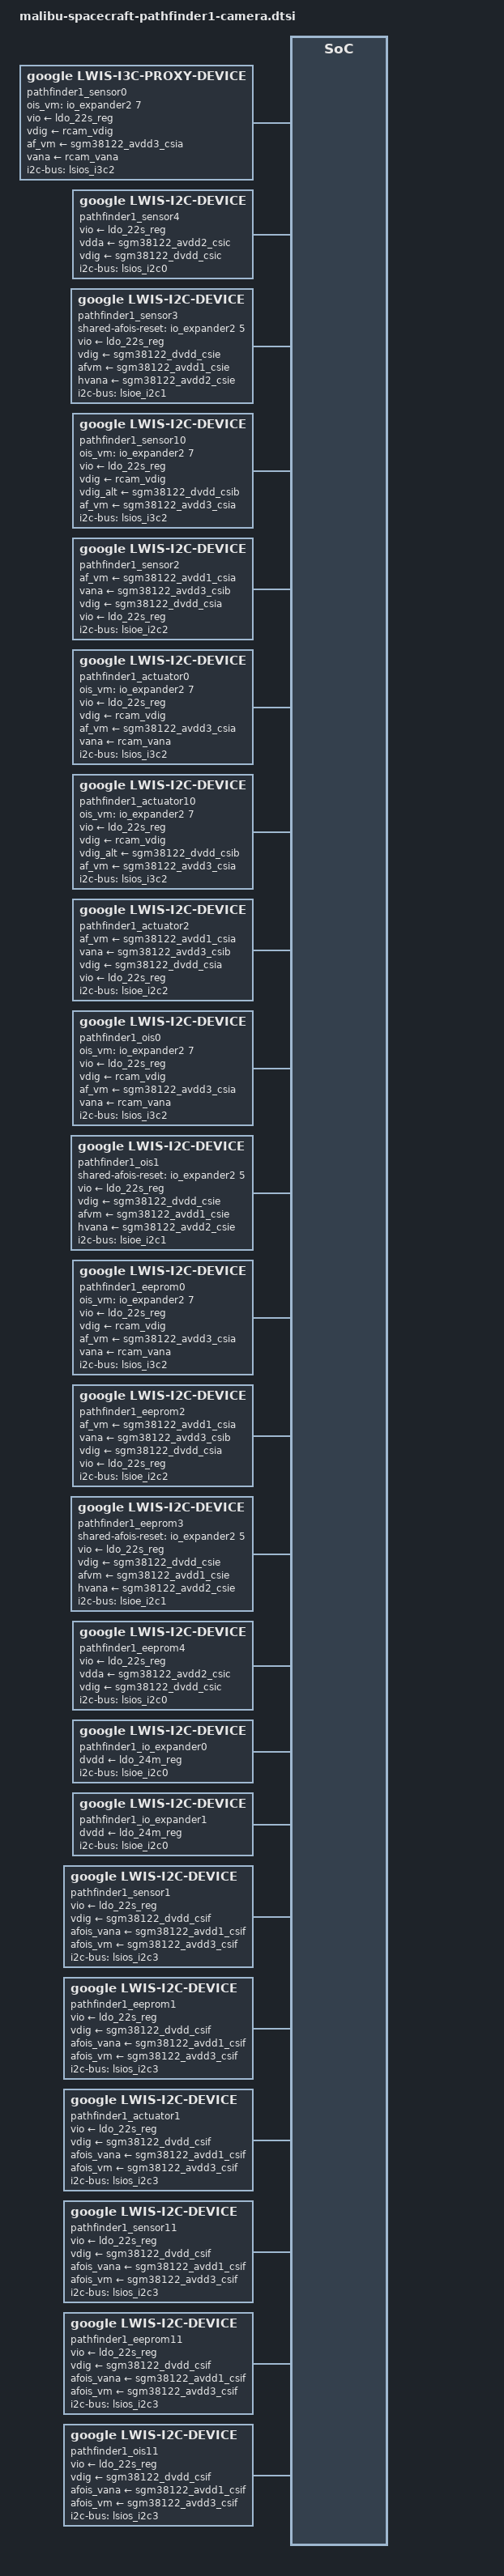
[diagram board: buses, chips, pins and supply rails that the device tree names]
// SPDX-License-Identifier: GPL-2.0-only
/*
 * camera lwis device tree for spacecraft
 *
 * Copyright 2025 Google LLC.
 *
 */

#include <dt-bindings/gpio/gpio.h>

/ {
	fragment@lwiscamera {
		target-path = "/";
		__overlay__ {
			pathfinder1_rear_main_camera_power_seq: pathfinder1_module_power_seq@0 {
				/* Power up sequence */
				power-up-seqs =
					"vana",
					"vdig",
					"vio",
					"vm_vana_enable",
					"af_vm",
					"ois_vm",
					"mclk_on",
					"resume";
				power-up-seq-types =
					"regulator",
					"regulator",
					"regulator",
					"gpio",
					"regulator",
					"gpio",
					"pinctrl",
					"controller";
				power-up-seq-delays-us =
					<0
					 0
					 1000
					 0
					 1000
					 0
					 1000
					 /* AF need 7.1ms (rounded to 8ms) before I2C stable,
					    added the remaining here */
					 6000>;

				power-down-seqs =
					"suspend",
					"mclk_off",
					"ois_vm",
					"af_vm",
					"vm_vana_enable",
					"vio",
					"vdig",
					"vana";
				power-down-seq-types =
					"controller",
					"pinctrl",
					"gpio",
					"regulator",
					"gpio",
					"regulator",
					"regulator",
					"regulator";
				power-down-seq-delays-us =
					<0
					 0
					 1000
					 0
					 1000
					 1000
					 1000
					 2000>;
			};

			pathfinder1_inner_front_camera_power_seq: pathfinder1_module_power_seq@4 {
				power-up-seqs =
					"vio",
					"vdda",
					"vdig",
					"reset",
					"mclk_on",
					"resume";
				power-up-seq-types =
					"regulator",
					"regulator",
					"regulator",
					"gpio",
					"pinctrl",
					"controller";
				power-up-seq-delays-us =
					<2500
					 0
					 1000
					 1000
					 0
					 1000>;

				power-down-seqs =
					"suspend",
					"mclk_off",
					"reset",
					"vdig",
					"vdda",
					"vio";
				power-down-seq-types =
					"controller",
					"pinctrl",
					"gpio",
					"regulator",
					"regulator",
					"regulator";
				power-down-seq-delays-us =
					<0
					 0
					 0
					 0
					 0
					 0>;
			};

			pathfinder1_rear_tele_camera_power_seq: pathfinder1_module_power_seq@3 {
				/* Power up sequence */
				power-up-seqs =
					"vio",
					"hvana",
					"vdig",
					"afois",
					"afvm",
					"shared-reset",
					"shared-afois-reset",
					"mclk_on",
					"resume";
				power-up-seq-types =
					"regulator",
					"regulator",
					"regulator",
					"regulator",
					"regulator",
					"gpio",
					"gpio",
					"pinctrl",
					"controller";
				power-up-seq-delays-us =
					<2500
					 0
					 1000
					 1000
					 1000
					 0
					 0
					 10000
					 0>;

				/* Power down sequence */
				power-down-seqs =
					"suspend",
					"mclk_off",
					"shared-afois-reset",
					"shared-reset",
					"afvm",
					"afois",
					"vdig",
					"hvana",
					"vio";
				power-down-seq-types =
					"controller",
					"pinctrl",
					"gpio",
					"gpio",
					"regulator",
					"regulator",
					"regulator",
					"regulator",
					"regulator";
				power-down-seq-delays-us =
					<0
					 0
					 0
					 0
					 0
					 0
					 0
					 0
					 0>;
			};

			pathfinder1_rear_main_camera_power_seq2: pathfinder1_module_power_seq@10 {
				/* Power up sequence */
				power-up-seqs =
					"vio",
					"vana",
					"vdig",
					"vdig_alt",
					"vm_vana_enable",
					"af_vm",
					"ois_vm",
					"mclk_on",
					"resume";
				power-up-seq-types =
					"regulator",
					"regulator",
					"regulator",
					"regulator",
					"gpio",
					"regulator",
					"gpio",
					"pinctrl",
					"controller";
				power-up-seq-delays-us =
					<2500
					 0
					 0
					 1000
					 0
					 1000
					 0
					 1000
					 /* AF need 7.1ms (rounded to 8ms) before I2C stable,
					    added the remaining here */
					 6000>;

				power-down-seqs =
					"suspend",
					"mclk_off",
					"ois_vm",
					"af_vm",
					"vm_vana_enable",
					"vdig_alt",
					"vdig",
					"vana",
					"vio";
				power-down-seq-types =
					"controller",
					"pinctrl",
					"gpio",
					"regulator",
					"gpio",
					"regulator",
					"regulator",
					"regulator",
					"regulator";
				power-down-seq-delays-us =
					<0
					 0
					 1000
					 0
					 1000
					 0
					 0
					 1000
					 2000>;
			};

			pathfinder1_rear_uw_camera_power_seq: pathfinder1_module_power_seq@2 {
				power-up-seqs =
					"vio",
					"vana",
					"vdig",
					"af_vm",
					"reset",
					"mclk_on",
					"resume";
				power-up-seq-types =
					"regulator",
					"regulator",
					"regulator",
					"regulator",
					"gpio",
					"pinctrl",
					"controller";
				power-up-seq-delays-us =
					<2500
					 0
					 1000
					 0
					 1000
					 0
					 10000>;

				power-down-seqs =
					"suspend",
					"mclk_off",
					"reset",
					"af_vm",
					"vdig",
					"vana",
					"vio";
				power-down-seq-types =
					"controller",
					"pinctrl",
					"gpio",
					"regulator",
					"regulator",
					"regulator",
					"regulator";
				power-down-seq-delays-us =
					<0
					 1000
					 0
					 1000
					 0
					 1000
					 0>;
			};

			/* REAR CAMERA BOITATA CSIB */
			pathfinder1_sensor0: pathfinder1_sensor@0 {
				compatible = "google,lwis-i3c-proxy-device";

				/* Device node name */
				node-name = "sensor-boitata-pathfinder";

				/* I2C */
				i2c-bus = <&lsios_i3c2>;
				i2c-addr = <0x3D>;
				/* I3C */
				i3c-enabled;
				i3c-dcr = <130>;

				/* Power up mode */
				lwis,power-up-to-suspend;

				/* Registers */
				reg-addr-bitwidth = <16>;
				reg-value-bitwidth = <16>;

				 /* I2C OTP settings (reg, val) */
				i2c-otp-settings =
					<0xFCFC 0x4000
					 0x6012 0x0001
					 0x7002 0x0008
					 0x6014 0x0001>;
				i2c-otp-settle-time = <10000>;

				/* I3C OTP settings (reg, val) */
				i3c-otp-settings =
					<0xFCFC 0x4000
					 0x6012 0x0001
					 0x7002 0x1008
					 0x6066 0x0216
					 0x6068 0x08EF
					 0x6014 0x0001>;
				i3c-otp-settle-time = <10000>;

				/* I3C IBI */
				ibi-max-payload-len = <3>;
				ibi-num-slots = <8>;

				/* GPIOs */
				reset-gpios = <AP2RCAM_RST_L(GPIO_ACTIVE_HIGH)>;
				vm_vana_enable-gpios = <PMICM2RCAM_AFOIS_VANA_EN(GPIO_ACTIVE_HIGH)>;

				/* Power supplies */
				vio-supply = <&ldo_22s_reg>;
				vdig-supply = <&rcam_vdig>;
				af_vm-supply = <&sgm38122_avdd3_csia>;
				ois_vm-gpios = <&io_expander2 7 GPIO_ACTIVE_HIGH>;
				vana-supply = <&rcam_vana>;

				/* Power domains: cpm_clk */
				power-domains = <&sswrp_lsio_s_pd>;

				clocks = <&lsio_s_m4_clk>;
				clock-names = "MCLK4";
				clock-rates = <24576000>;

				/* MCLK Control */
				pinctrl-names = "mclk_on", "mclk_off";
				pinctrl-0 = <&ap2rcam_mclk_24mhz>;
				pinctrl-1 = <&ap2rcam_mclk_24mhz_sleep>;

				/* Power sequence */
				power-seq = <&pathfinder1_rear_main_camera_power_seq>;

				/* resume sequence */
				resume-seqs = "reset";
				resume-seq-types = "gpio";
				resume-seq-delays-us = <9000>;

				/* suspend sequence */
				suspend-seqs = "reset";
				suspend-seq-types = "gpio";
				suspend-seq-delays-us = <1000>;

				/* Thread priority */
				transaction-thread-priority = <99>;

				i2c-lock-group-id = <0>;
				transaction-process-limit = <20>;
			};

			/* INNER FRONT SVAROG CSIC */
			pathfinder1_sensor4: pathfinder1_sensor@4 {
				compatible = "google,lwis-i2c-device";

				/* Device node name */
				node-name = "sensor-svarog-pathfinder";

				/* I2C */
				i2c-bus = <&lsios_i2c0>;
				i2c-addr = <0x10>;

				/* Registers */
				reg-addr-bitwidth = <16>;
				reg-value-bitwidth = <16>;

				/* I2C setting in kernel */
				lwis,i2c-otp;
				i2c-otp-settings =
					<0xFCFC 0x4000
					 0x6000 0x0005
					 0x6010 0x0001>;
				i2c-otp-settle-time = <5000>;

				/* GPIOs */
				reset-gpios = <AP2FCAM1_RST_L(GPIO_ACTIVE_HIGH)>;

				/* Power supplies */
				vio-supply = <&ldo_22s_reg>;
				vdda-supply = <&sgm38122_avdd2_csic>;
				vdig-supply = <&sgm38122_dvdd_csic>;

				/* Power domains: cpm_clk */
				power-domains = <&sswrp_lsio_s_pd>;

				clocks = <&lsio_s_m3_clk>;
				clock-names = "MCLK3";
				clock-rates = <24576000>;

				/* MCLK Control */
				pinctrl-names = "mclk_on", "mclk_off";
				pinctrl-0 = <&ap2fcam1_mclk_24mhz>;
				pinctrl-1 = <&ap2fcam1_mclk_24mhz_sleep>;

				/* Power sequence */
				power-seq = <&pathfinder1_inner_front_camera_power_seq>;

				/* Thread priority */
				transaction-thread-priority = <99>;

				i2c-lock-group-id = <4>;
			};

			/* REAR Tele Camera TAOTIE CSIE */
			pathfinder1_sensor3: pathfinder1_sensor@3 {
				compatible = "google,lwis-i2c-device";

				/* Device node name */
				node-name = "sensor-taotie-tele-pf";

				/* I2C */
				i2c-bus = <&lsioe_i2c1>;
				i2c-addr = <0x33>;

				/* Registers */
				reg-addr-bitwidth = <16>;
				reg-value-bitwidth = <8>;

				/* GPIOs */
				shared-reset-gpios = <AP2FCAM0_RST_L(GPIO_ACTIVE_HIGH)>;
				/* AF OIS RESET is IO_EXPNDR2_CSIE_DRV_RST_L */
				shared-afois-reset-gpios =
					<&io_expander2 5 GPIO_ACTIVE_HIGH>;

				/* Power supplies */
				vio-supply = <&ldo_22s_reg>;
				vdig-supply = <&sgm38122_dvdd_csie>;
				afvm-supply = <&sgm38122_avdd1_csie>;
				hvana-supply = <&sgm38122_avdd2_csie>;
				afois-supply = <&sgm38122_avdd3_csie>;

				/* Power domains: cpm_clk */
				power-domains = <&sswrp_lsio_s_pd>;

				clocks = <&lsio_s_m6_clk>;
				clock-names = "MCLK6";
				clock-rates = <24576000>;

				/* MCLK Control */
				pinctrl-names = "mclk_on", "mclk_off";
				pinctrl-0 = <&ap2fcam0_mclk_24mhz>;
				pinctrl-1 = <&ap2fcam0_mclk_24mhz_sleep>;

				/* Power sequence */
				power-seq = <&pathfinder1_rear_tele_camera_power_seq>;

				/* Thread priority */
				transaction-thread-priority = <99>;

				i2c-lock-group-id = <3>;
			};

			/* REAR CAMERA CHEMOSH CSIB */
			pathfinder1_sensor10: pathfinder1_sensor@10 {
				compatible = "google,lwis-i2c-device";

				/* Device node name */
				node-name = "sensor-chemosh-pathfinder";

				/* I2C */
				i2c-bus = <&lsios_i3c2>;
				i2c-addr = <0x56>;

				/* Registers */
				reg-addr-bitwidth = <16>;
				reg-value-bitwidth = <16>;

				/* Enable after LWIS support multiple wait points for OTP */
				// /* I3C */
				// i3c-enabled;
				// i3c-dcr = <130>;

				//  /* I2C OTP settings (reg, val) */
				// i2c-otp-settings =
				// 	<>;
				// i2c-otp-settle-time = <10000>;

				// /* I3C OTP settings (reg, val) */
				// i3c-otp-settings =
				// 	<>;
				// i3c-otp-settle-time = <10000>;

				// /* I3C IBI */
				// ibi-max-payload-len = <3>;
				// ibi-num-slots = <8>;

				/* GPIOs */
				reset-gpios = <AP2RCAM_RST_L(GPIO_ACTIVE_HIGH)>;
				vm_vana_enable-gpios = <PMICM2RCAM_AFOIS_VANA_EN(GPIO_ACTIVE_HIGH)>;

				/* Power supplies */
				vio-supply = <&ldo_22s_reg>;
				vdig-supply = <&rcam_vdig>;
				vdig_alt-supply = <&sgm38122_dvdd_csib>;
				af_vm-supply = <&sgm38122_avdd3_csia>;
				ois_vm-gpios = <&io_expander2 7 GPIO_ACTIVE_HIGH>;
				vana-supply = <&rcam_vana>;

				/* Power domains: cpm_clk */
				power-domains = <&sswrp_lsio_s_pd>;

				clocks = <&lsio_s_m4_clk>;
				clock-names = "MCLK4";
				clock-rates = <24576000>;

				/* MCLK Control */
				pinctrl-names = "mclk_on", "mclk_off";
				pinctrl-0 = <&ap2rcam_mclk_24mhz>;
				pinctrl-1 = <&ap2rcam_mclk_24mhz_sleep>;

				/* Power sequence */
				power-seq = <&pathfinder1_rear_main_camera_power_seq2>;

				/* Power up mode */
				lwis,power-up-to-suspend;

				/* resume sequence */
				resume-seqs = "reset";
				resume-seq-types = "gpio";
				resume-seq-delays-us = <10000>;

				/* suspend sequence */
				suspend-seqs = "reset";
				suspend-seq-types = "gpio";
				suspend-seq-delays-us = <1000>;

				/* Thread priority */
				transaction-thread-priority = <99>;

				i2c-lock-group-id = <0>;
				transaction-process-limit = <20>;
			};

			/* REAR ULTRA WIDE IMENTET CSIA */
			pathfinder1_sensor2: pathfinder1_sensor@2 {
				compatible = "google,lwis-i2c-device";

				/* Device node name */
				node-name = "sensor-imentet-pathfinder";

				/* I2C */
				i2c-bus = <&lsioe_i2c2>;
				i2c-addr = <0x2D>;

				/* Registers */
				reg-addr-bitwidth = <16>;
				reg-value-bitwidth = <16>;

				/* GPIOs */
				reset-gpios = <AP2RUWCAM_RST_L(GPIO_ACTIVE_HIGH)>;

				/* Power supplies */
				af_vm-supply = <&sgm38122_avdd1_csia>;
				// ois_vm-gpios = <&io_expander1 5 GPIO_ACTIVE_HIGH>;
				vana-supply = <&sgm38122_avdd3_csib>;
				vdig-supply = <&sgm38122_dvdd_csia>;
				vio-supply = <&ldo_22s_reg>;

				/* Power domains: cpm_clk */
				power-domains = <&sswrp_lsio_s_pd>;

				clocks = <&lsio_s_m2_clk>;
				clock-names = "MCLK2";
				clock-rates = <24576000>;

				/* MCLK Control */
				pinctrl-names = "mclk_on", "mclk_off";
				pinctrl-0 = <&ap2ruwcam_mclk_24mhz>;
				pinctrl-1 = <&ap2ruwcam_mclk_24mhz_sleep>;

				/* Power sequence */
				power-seq = <&pathfinder1_rear_uw_camera_power_seq>;

				/* Thread priority */
				transaction-thread-priority = <99>;

				i2c-lock-group-id = <2>;
			};

			/* Actuator CORNERFOLK for BOITATA */
			pathfinder1_actuator0: pathfinder1_actuator@0 {
				compatible = "google,lwis-i2c-device";

				/* Device node name */
				node-name = "act-cornerfolk-pathfinder";

				/* I2C */
				i2c-bus = <&lsios_i3c2>;
				i2c-addr = <0xC>;

				/* Registers */
				reg-addr-bitwidth = <8>;
				reg-value-bitwidth = <8>;

				/* GPIOs */
				reset-gpios = <AP2RCAM_RST_L(GPIO_ACTIVE_HIGH)>;
				vm_vana_enable-gpios = <PMICM2RCAM_AFOIS_VANA_EN(GPIO_ACTIVE_HIGH)>;

				/* Power supplies */
				vio-supply = <&ldo_22s_reg>;
				vdig-supply = <&rcam_vdig>;
				af_vm-supply = <&sgm38122_avdd3_csia>;
				ois_vm-gpios = <&io_expander2 7 GPIO_ACTIVE_HIGH>;
				vana-supply = <&rcam_vana>;

				/* MCLK Control */
				pinctrl-names = "mclk_on", "mclk_off";
				pinctrl-0 = <&ap2rcam_mclk_24mhz>;
				pinctrl-1 = <&ap2rcam_mclk_24mhz_sleep>;

				/* Power sequence */
				power-seq = <&pathfinder1_rear_main_camera_power_seq>;

				/* Thread priority */
				transaction-thread-priority = <99>;

				i2c-lock-group-id = <0>;
			};

			/* Actuator CORNERFOLK for CHEMOSH */
			pathfinder1_actuator10: pathfinder1_actuator@10 {
				compatible = "google,lwis-i2c-device";

				/* Device node name */
				node-name = "act-cornerfolk-chemosh";

				/* I2C */
				i2c-bus = <&lsios_i3c2>;
				i2c-addr = <0xC>;

				/* Registers */
				reg-addr-bitwidth = <8>;
				reg-value-bitwidth = <8>;

				/* GPIOs */
				reset-gpios = <AP2RCAM_RST_L(GPIO_ACTIVE_HIGH)>;
				vm_vana_enable-gpios = <PMICM2RCAM_AFOIS_VANA_EN(GPIO_ACTIVE_HIGH)>;

				/* Power supplies */
				vio-supply = <&ldo_22s_reg>;
				vdig-supply = <&rcam_vdig>;
				vdig_alt-supply = <&sgm38122_dvdd_csib>;
				af_vm-supply = <&sgm38122_avdd3_csia>;
				ois_vm-gpios = <&io_expander2 7 GPIO_ACTIVE_HIGH>;
				vana-supply = <&rcam_vana>;

				/* MCLK Control */
				pinctrl-names = "mclk_on", "mclk_off";
				pinctrl-0 = <&ap2rcam_mclk_24mhz>;
				pinctrl-1 = <&ap2rcam_mclk_24mhz_sleep>;

				/* Power sequence */
				power-seq = <&pathfinder1_rear_main_camera_power_seq2>;

				/* Thread priority */
				transaction-thread-priority = <99>;

				i2c-lock-group-id = <0>;
			};

			/* Actuator for REAR ULTRAWIDE CAMERA */
			pathfinder1_actuator2: pathfinder1_actuator@2 {
				compatible = "google,lwis-i2c-device";

				/* Device node name */
				node-name = "act-cornerfolk-uw-pathfinder";

				/* I2C */
				i2c-bus = <&lsioe_i2c2>;
				i2c-addr = <0xF>;

				/* Registers */
				reg-addr-bitwidth = <8>;
				reg-value-bitwidth = <8>;

				/* GPIOs */
				reset-gpios = <AP2RUWCAM_RST_L(GPIO_ACTIVE_HIGH)>;

				/* Power supplies */
				af_vm-supply = <&sgm38122_avdd1_csia>;
				// ois_vm-gpios = <&io_expander1 5 GPIO_ACTIVE_HIGH>;
				vana-supply = <&sgm38122_avdd3_csib>;
				vdig-supply = <&sgm38122_dvdd_csia>;
				vio-supply = <&ldo_22s_reg>;

				/* MCLK Control */
				pinctrl-names = "mclk_on", "mclk_off";
				pinctrl-0 = <&ap2ruwcam_mclk_24mhz>;
				pinctrl-1 = <&ap2ruwcam_mclk_24mhz_sleep>;

				/* Power sequence */
				power-seq = <&pathfinder1_rear_uw_camera_power_seq>;

				/* Thread priority */
				transaction-thread-priority = <99>;

				i2c-lock-group-id = <2>;
			};

			/* OIS DJINN for BOITATA */
			pathfinder1_ois0: pathfinder1_ois@0 {
				compatible = "google,lwis-i2c-device";

				/* Device node name */
				node-name = "ois-djinn-pathfinder";

				/* I2C */
				i2c-bus = <&lsios_i3c2>;
				i2c-addr = <0x24>;

				/* Registers */
				reg-addr-bitwidth = <16>;
				reg-value-bitwidth = <32>;

				/* GPIOs */
				reset-gpios = <AP2RCAM_RST_L(GPIO_ACTIVE_HIGH)>;
				vm_vana_enable-gpios = <PMICM2RCAM_AFOIS_VANA_EN(GPIO_ACTIVE_HIGH)>;

				/* Power supplies */
				vio-supply = <&ldo_22s_reg>;
				vdig-supply = <&rcam_vdig>;
				af_vm-supply = <&sgm38122_avdd3_csia>;
				ois_vm-gpios = <&io_expander2 7 GPIO_ACTIVE_HIGH>;
				vana-supply = <&rcam_vana>;

				/* MCLK Control */
				pinctrl-names = "mclk_on", "mclk_off";
				pinctrl-0 = <&ap2rcam_mclk_24mhz>;
				pinctrl-1 = <&ap2rcam_mclk_24mhz_sleep>;

				/* Power sequence */
				power-seq = <&pathfinder1_rear_main_camera_power_seq>;

				/* Thread priority */
				transaction-thread-priority = <99>;

				i2c-lock-group-id = <0>;
			};

			/* OIS HUMBABA for Tele */
			pathfinder1_ois1: pathfinder1_ois@1 {
				compatible = "google,lwis-i2c-device";

				/* Device node name */
				node-name = "ois-humbaba-pathfinder";

				/* I2C */
				i2c-bus = <&lsioe_i2c1>;
				i2c-addr = <0x61>;

				/* Registers */
				reg-addr-bitwidth = <16>;
				reg-value-bitwidth = <8>;

				/* GPIOs */
				shared-reset-gpios = <AP2FCAM0_RST_L(GPIO_ACTIVE_HIGH)>;
				/* AF OIS RESET is IO_EXPNDR2_CSIE_DRV_RST_L */
				shared-afois-reset-gpios =
					<&io_expander2 5 GPIO_ACTIVE_HIGH>;

				/* Power supplies */
				vio-supply = <&ldo_22s_reg>;
				vdig-supply = <&sgm38122_dvdd_csie>;
				afvm-supply = <&sgm38122_avdd1_csie>;
				hvana-supply = <&sgm38122_avdd2_csie>;
				afois-supply = <&sgm38122_avdd3_csie>;

				/* MCLK Control */
				pinctrl-names = "mclk_on", "mclk_off";
				pinctrl-0 = <&ap2fcam0_mclk_24mhz>;
				pinctrl-1 = <&ap2fcam0_mclk_24mhz_sleep>;

				/* Power sequence */
				power-seq = <&pathfinder1_rear_tele_camera_power_seq>;

				/* Thread priority */
				transaction-thread-priority = <99>;

				i2c-lock-group-id = <3>;
				lwis,disable-group-transfer;
			};

			/* EEPROM DJINN for BOITATA */
			pathfinder1_eeprom0: pathfinder1_eeprom@0 {
				compatible = "google,lwis-i2c-device";
				/* Device node name */
				node-name = "eeprom-djinn-pathfinder";
				/* I2C */
				i2c-bus = <&lsios_i3c2>;
				i2c-addr = <0x24>;
				/* Registers */
				reg-addr-bitwidth = <16>;
				reg-value-bitwidth = <32>;

				/* GPIOs */
				reset-gpios = <AP2RCAM_RST_L(GPIO_ACTIVE_HIGH)>;
				vm_vana_enable-gpios = <PMICM2RCAM_AFOIS_VANA_EN(GPIO_ACTIVE_HIGH)>;

				/* Power supplies */
				vio-supply = <&ldo_22s_reg>;
				vdig-supply = <&rcam_vdig>;
				af_vm-supply = <&sgm38122_avdd3_csia>;
				ois_vm-gpios = <&io_expander2 7 GPIO_ACTIVE_HIGH>;
				vana-supply = <&rcam_vana>;

				/* MCLK Control */
				pinctrl-names = "mclk_on", "mclk_off";
				pinctrl-0 = <&ap2rcam_mclk_24mhz>;
				pinctrl-1 = <&ap2rcam_mclk_24mhz_sleep>;

				/* Power sequence */
				power-seq = <&pathfinder1_rear_main_camera_power_seq>;

				/* Thread priority */
				/* Match with other bus devices */
				transaction-thread-priority = <99>;

				i2c-lock-group-id = <0>;
			};

			/* EEPROM SMAUG for UW */
			pathfinder1_eeprom2: pathfinder1_eeprom@2 {
				compatible = "google,lwis-i2c-device";

				/* Device node name */
				node-name = "eeprom-smaug-uw-pathfinder";
				/* I2C */
				i2c-bus = <&lsioe_i2c2>;
				i2c-addr = <0x50>;

				/* Registers */
				reg-addr-bitwidth = <16>;
				reg-value-bitwidth = <8>;

				/* GPIOs */
				reset-gpios = <AP2RUWCAM_RST_L(GPIO_ACTIVE_HIGH)>;

				/* Power supplies */
				af_vm-supply = <&sgm38122_avdd1_csia>;
				// ois_vm-gpios = <&io_expander1 5 GPIO_ACTIVE_HIGH>;
				vana-supply = <&sgm38122_avdd3_csib>;
				vdig-supply = <&sgm38122_dvdd_csia>;
				vio-supply = <&ldo_22s_reg>;

				/* MCLK Control */
				pinctrl-names = "mclk_on", "mclk_off";
				pinctrl-0 = <&ap2ruwcam_mclk_24mhz>;
				pinctrl-1 = <&ap2ruwcam_mclk_24mhz_sleep>;

				/* Power sequence */
				power-seq = <&pathfinder1_rear_uw_camera_power_seq>;

				/* Thread priority */
				/* Match with other bus devices */
				transaction-thread-priority = <99>;

				i2c-lock-group-id = <2>;
			};

			/* EEPROM HUMBABA for Tele */
			pathfinder1_eeprom3: pathfinder1_eeprom@3 {
				compatible = "google,lwis-i2c-device";

				/* Device node name */
				node-name = "eeprom-humbaba-pathfinder";

				/* I2C */
				i2c-bus = <&lsioe_i2c1>;
				i2c-addr = <0x61>;

				/* Registers */
				reg-addr-bitwidth = <16>;
				reg-value-bitwidth = <8>;

				/* GPIOs */
				shared-reset-gpios = <AP2FCAM0_RST_L(GPIO_ACTIVE_HIGH)>;
				/* AF OIS RESET is IO_EXPNDR2_CSIE_DRV_RST_L */
				shared-afois-reset-gpios =
					<&io_expander2 5 GPIO_ACTIVE_HIGH>;

				/* Power supplies */
				vio-supply = <&ldo_22s_reg>;
				vdig-supply = <&sgm38122_dvdd_csie>;
				afvm-supply = <&sgm38122_avdd1_csie>;
				hvana-supply = <&sgm38122_avdd2_csie>;
				afois-supply = <&sgm38122_avdd3_csie>;

				/* MCLK Control */
				pinctrl-names = "mclk_on", "mclk_off";
				pinctrl-0 = <&ap2fcam0_mclk_24mhz>;
				pinctrl-1 = <&ap2fcam0_mclk_24mhz_sleep>;

				/* Power sequence */
				power-seq = <&pathfinder1_rear_tele_camera_power_seq>;

				/* Thread priority */
				/* Match with other bus devices */
				transaction-thread-priority = <99>;

				i2c-lock-group-id = <3>;
				lwis,disable-group-transfer;
			};

			/* EEPROM SMAUG for SVAROG INNER FRONT */
			pathfinder1_eeprom4: pathfinder1_eeprom@4 {
				compatible = "google,lwis-i2c-device";

				/* Device node name */
				node-name = "eeprom-smaug-svarog-pathfinder";

				/* I2C */
				i2c-bus = <&lsios_i2c0>;
				i2c-addr = <0x50>;

				/* Registers */
				reg-addr-bitwidth = <16>;
				reg-value-bitwidth = <8>;

				/* GPIOs */
				reset-gpios = <AP2FCAM1_RST_L(GPIO_ACTIVE_HIGH)>;

				/* Power supplies */
				vio-supply = <&ldo_22s_reg>;
				vdda-supply = <&sgm38122_avdd2_csic>;
				vdig-supply = <&sgm38122_dvdd_csic>;

				/* MCLK Control */
				pinctrl-names = "mclk_on", "mclk_off";
				pinctrl-0 = <&ap2fcam1_mclk_24mhz>;
				pinctrl-1 = <&ap2fcam1_mclk_24mhz_sleep>;

				/* Power sequence */
				power-seq = <&pathfinder1_inner_front_camera_power_seq>;

				/* Thread priority */
				/* Match with other bus devices */
				transaction-thread-priority = <99>;

				i2c-lock-group-id = <4>;
			};

			/* IO EXPANDER 1 on NORTH_I2C */
			pathfinder1_io_expander0: pathfinder1_io_expander@0 {
				compatible = "google,lwis-i2c-device";

				/* Device node name */
				node-name = "io-pca6416-0";

				/* I2C */
				i2c-bus = <&lsioe_i2c0>;
				i2c-addr = <0x20>;

				/* Registers */
				reg-addr-bitwidth = <8>;
				reg-value-bitwidth = <8>;

				/* Power supplies */
				dvdd-supply = <&ldo_24m_reg>;

				power-up-seqs =
					"dvdd";
				power-up-seq-types =
					"regulator";
				power-up-seq-delays-us =
					<1000>;

				power-down-seqs =
					"dvdd";
				power-down-seq-types =
					"regulator";
				power-down-seq-delays-us =
					<1000>;

				i2c-lock-group-id = <6>;
			};

			/* IO EXPANDER 2 on NORTH_I2C */
			pathfinder1_io_expander1: pathfinder1_io_expander@1 {
				compatible = "google,lwis-i2c-device";

				/* Device node name */
				node-name = "io-pca6416-1";

				/* I2C */
				i2c-bus = <&lsioe_i2c0>;
				i2c-addr = <0x21>;

				/* Registers */
				reg-addr-bitwidth = <8>;
				reg-value-bitwidth = <8>;

				/* Power supplies */
				dvdd-supply = <&ldo_24m_reg>;

				power-up-seqs =
					"dvdd";
				power-up-seq-types =
					"regulator";
				power-up-seq-delays-us =
					<1000>;

				power-down-seqs =
					"dvdd";
				power-down-seq-types =
					"regulator";
				power-down-seq-delays-us =
					<1000>;

				i2c-lock-group-id = <6>;
			};

			pathfinder1_outer_front_camera_power_seq: pathfinder1_module_power_seq@1 {
				/* Power up sequence */
				power-up-seqs =
					"shared-csimux_sel",
					"vio",
					"vdig",
					"afois_vana",
					"afois_vm",
					"shared-reset",
					"shared-afois-reset",
					"mclk_on",
					"resume";

				power-up-seq-types =
					"gpio",
					"regulator",
					"regulator",
					"regulator",
					"regulator",
					"gpio",
					"gpio",
					"pinctrl",
					"controller";
				power-up-seq-delays-us =
					<0
					 1000
					 1000
					 1000
					 1000
					 0
					 0
					 8000
					 0>;

				/* Power down sequence */
				power-down-seqs =
					"suspend",
					"mclk_off",
					"shared-afois-reset",
					"shared-reset",
					"afois_vm",
					"afois_vana",
					"vdig",
					"vio",
					"shared-csimux_sel";
				power-down-seq-types =
					"controller",
					"pinctrl",
					"gpio",
					"gpio",
					"regulator",
					"regulator",
					"regulator",
					"regulator",
					"gpio";
				power-down-seq-delays-us =
					<0
					 0
					 0
					 0
					 0
					 0
					 0
					 1000
					 0>;
			};

			/* CSIF DOKKAEBI with MUX on as OUTER FRONT */
			pathfinder1_sensor1: pathfinder1_sensor@1 {
				compatible = "google,lwis-i2c-device";

				/* Device node name */
				node-name = "sensor-dokkaebi-pf";

				/* I2C */
				i2c-bus = <&lsios_i2c3>;
				i2c-addr = <0x10>;

				/* Registers */
				reg-addr-bitwidth = <16>;
				reg-value-bitwidth = <16>;

				/* I2C setting in kernel */
				lwis,i2c-otp;
				i2c-otp-settings =
					<0xFCFC 0x4000
					 0x6010 0x0001>;
				i2c-otp-settle-time = <3000>;

				/* GPIOs */
				shared-reset-gpios = <AP2RTCAM_RST_L(GPIO_ACTIVE_HIGH)>;
				shared-afois-reset-gpios =
					<AP2RTCAM_AF_OIS_RST(GPIO_ACTIVE_HIGH)>;
				shared-csimux_sel-gpios =
					<AP2CSIMUX_SEL(GPIO_ACTIVE_HIGH)>;

				/* Power supplies */
				vio-supply = <&ldo_22s_reg>;
				vdig-supply = <&sgm38122_dvdd_csif>;
				afois_vana-supply = <&sgm38122_avdd1_csif>;
				afois_vm-supply = <&sgm38122_avdd3_csif>;

				/* Power domains: cpm_clk */
				power-domains = <&sswrp_lsio_s_pd>;

				clocks = <&lsio_s_m5_clk>;
				clock-names = "MCLK5";
				clock-rates = <24576000>;

				/* MCLK Control */
				pinctrl-names = "mclk_on", "mclk_off";
				pinctrl-0 = <&ap2rtcam_mclk_24mhz>;
				pinctrl-1 = <&ap2rtcam_mclk_24mhz_sleep>;

				/* Power sequence */
				power-seq = <&pathfinder1_outer_front_camera_power_seq>;

				/* Thread priority */
				transaction-thread-priority = <99>;

				i2c-lock-group-id = <1>;
			};

			/* EEPROM SMAUG for DOKKAEBI */
			pathfinder1_eeprom1: pathfinder1_eeprom@1 {
				compatible = "google,lwis-i2c-device";

				/* Device node name */
				node-name = "eeprom-smaug-dokkaebi-pf";

				/* I2C */
				i2c-bus = <&lsios_i2c3>;
				i2c-addr = <0x51>;

				/* Registers */
				reg-addr-bitwidth = <16>;
				reg-value-bitwidth = <8>;

				/* GPIOs */
				shared-reset-gpios = <AP2RTCAM_RST_L(GPIO_ACTIVE_HIGH)>;
				shared-afois-reset-gpios =
					<AP2RTCAM_AF_OIS_RST(GPIO_ACTIVE_HIGH)>;
				shared-csimux_sel-gpios =
					<AP2CSIMUX_SEL(GPIO_ACTIVE_HIGH)>;

				/* Power supplies */
				vio-supply = <&ldo_22s_reg>;
				vdig-supply = <&sgm38122_dvdd_csif>;
				afois_vana-supply = <&sgm38122_avdd1_csif>;
				afois_vm-supply = <&sgm38122_avdd3_csif>;

				/* MCLK Control */
				pinctrl-names = "mclk_on", "mclk_off";
				pinctrl-0 = <&ap2rtcam_mclk_24mhz>;
				pinctrl-1 = <&ap2rtcam_mclk_24mhz_sleep>;

				/* Power sequence */
				power-seq = <&pathfinder1_outer_front_camera_power_seq>;

				/* Thread priority */
				/* Match with other bus devices */
				transaction-thread-priority = <99>;

				i2c-lock-group-id = <1>;
			};

			/* Actuator CORNERFOLK for DOKKAEBI */
			pathfinder1_actuator1: pathfinder1_actuator@1 {
				compatible = "google,lwis-i2c-device";

				/* Device node name */
				node-name = "act-cornerfolk-dokkaebi-pf";

				/* I2C */
				i2c-bus = <&lsios_i2c3>;
				i2c-addr = <0xC>;

				/* Registers */
				reg-addr-bitwidth = <8>;
				reg-value-bitwidth = <8>;

				/* GPIOs */
				shared-reset-gpios = <AP2RTCAM_RST_L(GPIO_ACTIVE_HIGH)>;
				shared-afois-reset-gpios =
					<AP2RTCAM_AF_OIS_RST(GPIO_ACTIVE_HIGH)>;
				shared-csimux_sel-gpios =
					<AP2CSIMUX_SEL(GPIO_ACTIVE_HIGH)>;

				/* Power supplies */
				vio-supply = <&ldo_22s_reg>;
				vdig-supply = <&sgm38122_dvdd_csif>;
				afois_vana-supply = <&sgm38122_avdd1_csif>;
				afois_vm-supply = <&sgm38122_avdd3_csif>;

				/* MCLK Control */
				pinctrl-names = "mclk_on", "mclk_off";
				pinctrl-0 = <&ap2rtcam_mclk_24mhz>;
				pinctrl-1 = <&ap2rtcam_mclk_24mhz_sleep>;

				/* Power sequence */
				power-seq = <&pathfinder1_outer_front_camera_power_seq>;

				/* Thread priority */
				transaction-thread-priority = <99>;

				i2c-lock-group-id = <1>;
			};

			pathfinder1_alt_outer_front_power_seq: pathfinder1_module_power_seq@11 {
				/* Power up sequence */
				power-up-seqs =
					"vio",
					"vdig",
					"afois_vana",
					"afois_vm",
					"shared-reset",
					"shared-afois-reset",
					"mclk_on",
					"resume";
				power-up-seq-types =
					"regulator",
					"regulator",
					"regulator",
					"regulator",
					"gpio",
					"gpio",
					"pinctrl",
					"controller";
				power-up-seq-delays-us =
					<1000
					 1000
					 1000
					 1000
					 0
					 0
					 8000
					 0>;

				/* Power down sequence */
				power-down-seqs =
					"suspend",
					"mclk_off",
					"shared-afois-reset",
					"shared-reset",
					"afois_vm",
					"afois_vana",
					"vdig",
					"vio";
				power-down-seq-types =
					"controller",
					"pinctrl",
					"gpio",
					"gpio",
					"regulator",
					"regulator",
					"regulator",
					"regulator";
				power-down-seq-delays-us =
					<0
					 0
					 0
					 0
					 0
					 0
					 0
					 1000>;
			};

			/* CSIF DOKKAEBI TELE as OUTER FRONT */
			pathfinder1_sensor11: pathfinder1_sensor@11 {
				compatible = "google,lwis-i2c-device";

				/* Device node name */
				node-name = "sensor-dokkaebi-tele-pf";

				/* I2C */
				i2c-bus = <&lsios_i2c3>;
				i2c-addr = <0x10>;

				/* Registers */
				reg-addr-bitwidth = <16>;
				reg-value-bitwidth = <16>;

				/* I2C setting in kernel */
				lwis,i2c-otp;
				i2c-otp-settings =
					<0xFCFC 0x4000
					 0x6010 0x0001>;
				i2c-otp-settle-time = <3000>;

				/* GPIOs */
				shared-reset-gpios = <AP2RTCAM_RST_L(GPIO_ACTIVE_HIGH)>;
				shared-afois-reset-gpios =
					<AP2RTCAM_AF_OIS_RST(GPIO_ACTIVE_HIGH)>;

				/* Power supplies */
				vio-supply = <&ldo_22s_reg>;
				vdig-supply = <&sgm38122_dvdd_csif>;
				afois_vana-supply = <&sgm38122_avdd1_csif>;
				afois_vm-supply = <&sgm38122_avdd3_csif>;

				/* Power domains: cpm_clk */
				power-domains = <&sswrp_lsio_s_pd>;

				clocks = <&lsio_s_m5_clk>;
				clock-names = "MCLK5";
				clock-rates = <24576000>;

				/* MCLK Control */
				pinctrl-names = "mclk_on", "mclk_off";
				pinctrl-0 = <&ap2rtcam_mclk_24mhz>;
				pinctrl-1 = <&ap2rtcam_mclk_24mhz_sleep>;

				/* Power sequence */
				power-seq = <&pathfinder1_alt_outer_front_power_seq>;

				/* Thread priority */
				transaction-thread-priority = <99>;

				i2c-lock-group-id = <1>;
			};

			/* EEPROM HUMBABA for DOKKAEBI TELE as OUTER FRONT */
			pathfinder1_eeprom11: pathfinder1_eeprom@11 {
				compatible = "google,lwis-i2c-device";

				/* Device node name */
				node-name = "eeprom-humbaba-tele-pf";

				/* I2C */
				i2c-bus = <&lsios_i2c3>;
				i2c-addr = <0x61>;

				/* Registers */
				reg-addr-bitwidth = <16>;
				reg-value-bitwidth = <8>;

				/* GPIOs */
				shared-reset-gpios = <AP2RTCAM_RST_L(GPIO_ACTIVE_HIGH)>;
				shared-afois-reset-gpios =
					<AP2RTCAM_AF_OIS_RST(GPIO_ACTIVE_HIGH)>;

				/* Power supplies */
				vio-supply = <&ldo_22s_reg>;
				vdig-supply = <&sgm38122_dvdd_csif>;
				afois_vana-supply = <&sgm38122_avdd1_csif>;
				afois_vm-supply = <&sgm38122_avdd3_csif>;

				/* MCLK Control */
				pinctrl-names = "mclk_on", "mclk_off";
				pinctrl-0 = <&ap2rtcam_mclk_24mhz>;
				pinctrl-1 = <&ap2rtcam_mclk_24mhz_sleep>;

				/* Power sequence */
				power-seq = <&pathfinder1_alt_outer_front_power_seq>;

				/* Thread priority */
				/* Match with other bus devices */
				transaction-thread-priority = <99>;

				i2c-lock-group-id = <1>;
				lwis,disable-group-transfer;
			};

			/* OIS HUMBABA for DOKKAEBI TELE as OUTER FRONT */
			pathfinder1_ois11: pathfinder1_ois@11 {
				compatible = "google,lwis-i2c-device";

				/* Device node name */
				node-name = "ois-humbaba-tele-pf";

				/* I2C */
				i2c-bus = <&lsios_i2c3>;
				i2c-addr = <0x61>;

				/* Registers */
				reg-addr-bitwidth = <16>;
				reg-value-bitwidth = <8>;

				/* GPIOs */
				shared-reset-gpios = <AP2RTCAM_RST_L(GPIO_ACTIVE_HIGH)>;
				shared-afois-reset-gpios =
					<AP2RTCAM_AF_OIS_RST(GPIO_ACTIVE_HIGH)>;

				/* Power supplies */
				vio-supply = <&ldo_22s_reg>;
				vdig-supply = <&sgm38122_dvdd_csif>;
				afois_vana-supply = <&sgm38122_avdd1_csif>;
				afois_vm-supply = <&sgm38122_avdd3_csif>;

				/* MCLK Control */
				pinctrl-names = "mclk_on", "mclk_off";
				pinctrl-0 = <&ap2rtcam_mclk_24mhz>;
				pinctrl-1 = <&ap2rtcam_mclk_24mhz_sleep>;

				/* Power sequence */
				power-seq = <&pathfinder1_alt_outer_front_power_seq>;

				/* Thread priority */
				transaction-thread-priority = <99>;

				i2c-lock-group-id = <1>;
				lwis,disable-group-transfer;
			};
		};
	};
};
